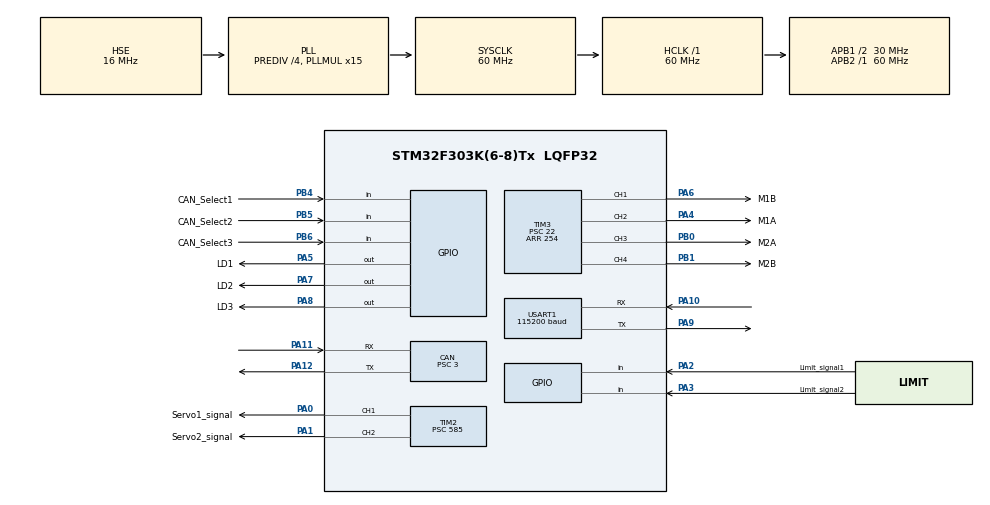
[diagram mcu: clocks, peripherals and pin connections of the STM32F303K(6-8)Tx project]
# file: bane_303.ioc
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CAN.BS1=CAN_BS1_7TQ
CAN.BS2=CAN_BS2_2TQ
CAN.CalculateBaudRate=1000000
CAN.CalculateTimeBit=1000
CAN.CalculateTimeQuantum=100.0
CAN.Prescaler=3
Mcu.Family=STM32F3
Mcu.Name=STM32F303K(6-8)Tx
Mcu.Package=LQFP32
NVIC.CAN_RX0_IRQn=true\:0\:0\:false\:false\:true\:true\:true\:true
NVIC.PVD_IRQn=true\:0\:0\:false\:false\:true\:true\:true\:true
NVIC.PriorityGroup=NVIC_PRIORITYGROUP_4
NVIC.USART1_IRQn=true\:0\:0\:false\:false\:true\:true\:true\:true
PA0.GPIO_Label=Servo1_signal
PA0.Signal=S_TIM2_CH1_ETR
PA1.GPIO_Label=Servo2_signal
PA1.Signal=S_TIM2_CH2
PA10.Mode=Asynchronous
PA10.Signal=USART1_RX
PA11.Mode=CAN_Activate
PA11.Signal=CAN_RX
PA12.Mode=CAN_Activate
PA12.Signal=CAN_TX
PA2.GPIO_Label=Limit_signal1
PA2.GPIO_PuPd=GPIO_PULLUP
PA2.Signal=GPIO_Input
PA3.GPIO_Label=Limit_signal2
PA3.GPIO_PuPd=GPIO_PULLUP
PA3.Signal=GPIO_Input
PA4.GPIO_Label=M1A
PA4.Signal=S_TIM3_CH2
PA5.GPIO_Label=LD1
PA5.Signal=GPIO_Output
PA6.GPIO_Label=M1B
PA6.Signal=S_TIM3_CH1
PA7.GPIO_Label=LD2
PA7.Signal=GPIO_Output
PA8.GPIO_Label=LD3
PA8.Signal=GPIO_Output
PA9.Mode=Asynchronous
PA9.Signal=USART1_TX
PB0.GPIO_Label=M2A
PB0.Signal=S_TIM3_CH3
PB1.GPIO_Label=M2B
PB1.Signal=S_TIM3_CH4
PB4.GPIO_Label=CAN_Select1
PB4.GPIO_PuPd=GPIO_PULLUP
PB4.Signal=GPIO_Input
PB5.GPIO_Label=CAN_Select2
PB5.GPIO_PuPd=GPIO_PULLUP
PB5.Signal=GPIO_Input
PB6.GPIO_Label=CAN_Select3
PB6.GPIO_PuPd=GPIO_PULLUP
PB6.Signal=GPIO_Input
PF0\ /\ OSC_IN.Mode=HSE-External-Oscillator
PF0\ /\ OSC_IN.Signal=RCC_OSC_IN
PF1\ /\ OSC_OUT.Mode=HSE-External-Oscillator
PF1\ /\ OSC_OUT.Signal=RCC_OSC_OUT
ProjectManager.HeapSize=0x200
ProjectManager.StackSize=0x400
ProjectManager.TargetToolchain=STM32CubeIDE
RCC.AHBFreq_Value=60000000
RCC.APB1CLKDivider=RCC_HCLK_DIV2
RCC.APB1Freq_Value=30000000
RCC.APB1TimFreq_Value=60000000
RCC.APB2Freq_Value=60000000
RCC.APB2TimFreq_Value=60000000
RCC.CortexFreq_Value=60000000
RCC.HCLKFreq_Value=60000000
RCC.HSE_VALUE=16000000
RCC.HSI_VALUE=8000000
RCC.PLLMUL=RCC_PLL_MUL15
RCC.PLLSourceVirtual=RCC_PLLSOURCE_HSE
RCC.RCC_PLLsource_Clock_Source_FROM_HSE=RCC_HSE_PREDIV_DIV4
RCC.SYSCLKFreq_VALUE=60000000
RCC.SYSCLKSourceVirtual=RCC_SYSCLKSOURCE_PLLCLK
SH.S_TIM2_CH1_ETR.0=TIM2_CH1,PWM Generation1 CH1
SH.S_TIM2_CH2.0=TIM2_CH2,PWM Generation2 CH2
SH.S_TIM3_CH1.0=TIM3_CH1,PWM Generation1 CH1
SH.S_TIM3_CH2.0=TIM3_CH2,PWM Generation2 CH2
SH.S_TIM3_CH3.0=TIM3_CH3,PWM Generation3 CH3
SH.S_TIM3_CH4.0=TIM3_CH4,PWM Generation4 CH4
TIM2.Channel-PWM\ Generation1\ CH1=TIM_CHANNEL_1
TIM2.Channel-PWM\ Generation2\ CH2=TIM_CHANNEL_2
TIM2.Period=2048
TIM2.Prescaler=585
TIM3.Channel-PWM\ Generation1\ CH1=TIM_CHANNEL_1
TIM3.Channel-PWM\ Generation2\ CH2=TIM_CHANNEL_2
TIM3.Channel-PWM\ Generation3\ CH3=TIM_CHANNEL_3
TIM3.Channel-PWM\ Generation4\ CH4=TIM_CHANNEL_4
TIM3.Period=254
TIM3.Prescaler=22
USART1.BaudRate=115200
USART1.VirtualMode-Asynchronous=VM_ASYNC
VP_TIM2_VS_ClockSourceINT.Mode=Internal
VP_TIM3_VS_ClockSourceINT.Mode=Internal
board=custom

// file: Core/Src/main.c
/* USER CODE BEGIN Header */
/**
  ******************************************************************************
  * @file           : main.c
  * @brief          : Main program body
  ******************************************************************************
  * @attention
  *
  * Copyright (c) 2024 STMicroelectronics.
  * All rights reserved.
  *
  * This software is licensed under terms that can be found in the LICENSE file
  * in the root directory of this software component.
  * If no LICENSE file comes with this software, it is provided AS-IS.
  *
  ******************************************************************************
  */
/* USER CODE END Header */
#include "main.h"

/* USER CODE BEGIN Includes */
#include <stdio.h>
#include <math.h>

//
//                       _oo0oo_
//                      o8888888o
//                      88" . "88
//                      (| -_- |)
//                      0\  =  /0
//                    ___/`---'\___
//                  .' \\|     |// '.
//                 / \\|||  :  |||// \
//                / _||||| -:- |||||- \
//               |   | \\\  -  /// |   |
//               | \_|  ''\---/''  |_/ |
//               \  .-\__  '-'  ___/-. /
//             ___'. .'  /--.--\  `. .'___
//          ."" '<  `.___\_<|>_/___.' >' "".
//         | | :  `- \`.;`\ _ /`;.`/ - ` : | |
//         \  \ `_.   \_ __\ /__ _/   .-` /  /
//     =====`-.____`.___ \_____/___.-`___.-'=====
//                       `=---='
//
//
//     ~~~~~~~~~~~~~~~~~~~~~~~~~~~~~~~~~~~~~~~~~~~
//
//               佛祖保佑         永无BUG
//
//
//

/* USER CODE END Includes */

CAN_HandleTypeDef hcan;

TIM_HandleTypeDef htim2;
TIM_HandleTypeDef htim3;

UART_HandleTypeDef huart1;

void SystemClock_Config(void);
static void MX_GPIO_Init(void);
static void MX_CAN_Init(void);
static void MX_TIM2_Init(void);
static void MX_TIM3_Init(void);
static void MX_USART1_UART_Init(void);

/* USER CODE BEGIN 0 */
uint8_t can_data_receive[8] = {0, 0, 0, 0, 20, 20, 0, 0};//{ M1出力(uint8_t), M1回転方向(bool), M2出力(uint8_t), M2回転方向(bool), Servo1角度(uint8_t 0~180), Servo2角度(uint8_t 0~180), LD1(bool), LD3(bool)}

uint32_t fId1 = 0x111 << 5; // フィルターID1
uint32_t fId2 = 0x222 << 5; // フィルターID2
uint32_t fId3 = 0x300 << 5; // フィルターID3
uint32_t variable_can_id;//フィルターID可変

//CAN用
CAN_TxHeaderTypeDef TxHeader;
CAN_RxHeaderTypeDef	RxHeader;
uint32_t TxMailbox;
uint32_t main_control_CAN_id = 0x100;	//メイン基板の受信ID
uint8_t	can_data_send_state[8] = {0};  //送るデータが入る配列
uint8_t RxData[8] = {0}; //受け取るデータが入る配列

//駆動系変数
int M1 = 0;
int M1_direction = 0;
int M2 = 0;
int M2_direction = 0;

int Servo1_variable = 0;
int Servo2_variable = 0;

//CAN割り込みの生死確認
int interrupt_cheack = 0;

//マップ関数
long map(long x, long in_min, long in_max, long out_min, long out_max) {
  return (x - in_min) * (out_max - out_min) / (in_max - in_min) + out_min;
}

//リミットスイッチの状態送信
void state_data_send(void){
	if(0 < HAL_CAN_GetTxMailboxesFreeLevel(&hcan)){
		can_data_send_state[0] = variable_can_id;
		can_data_send_state[1] = !HAL_GPIO_ReadPin(Limit_signal1_GPIO_Port, Limit_signal1_Pin);
		can_data_send_state[2] = !HAL_GPIO_ReadPin(Limit_signal2_GPIO_Port, Limit_signal2_Pin);

		TxHeader.StdId = main_control_CAN_id;
		TxHeader.RTR = CAN_RTR_DATA;
		TxHeader.IDE = CAN_ID_STD;
		TxHeader.DLC = 8;
		TxHeader.TransmitGlobalTime = DISABLE;

		if(HAL_CAN_AddTxMessage(&hcan, &TxHeader, can_data_send_state, &TxMailbox) != HAL_OK)
		{
		    Error_Handler();
		}
	}
}

//CAN割り込み受信
void HAL_CAN_RxFifo0MsgPendingCallback(CAN_HandleTypeDef *hcan)
{
    if (HAL_CAN_GetRxMessage(hcan, CAN_RX_FIFO0, &RxHeader, RxData) == HAL_OK)
    {
		for(int i = 0; i< 8; i++){
			can_data_receive[i] = RxData[i];
		}
		interrupt_cheack = 0;
    }
}
/* USER CODE END 0 */

int main(void)
{

  /* USER CODE BEGIN 1 */
  setbuf(stdout, NULL);
  /* USER CODE END 1 */

  /* MCU Configuration--------------------------------------------------------*/

  /* Reset of all peripherals, Initializes the Flash interface and the Systick. */
  HAL_Init();

  /* Configure the system clock */
  SystemClock_Config();

  /* Initialize all configured peripherals */
  MX_GPIO_Init();
  MX_CAN_Init();
  MX_TIM2_Init();
  MX_TIM3_Init();
  MX_USART1_UART_Init();
  /* USER CODE BEGIN 2 */

  //turn on
  printf("hello! @yosaha! \r\n");
  for(int i = 0; i <= 5; i++){
	  HAL_GPIO_WritePin(LD1_GPIO_Port, LD1_Pin, SET);
	  HAL_Delay(50);
	  HAL_GPIO_WritePin(LD1_GPIO_Port, LD1_Pin, RESET);
	  HAL_Delay(50);
  }
  HAL_GPIO_WritePin(LD1_GPIO_Port, LD1_Pin, SET);//起動確認用LED

  //CANID確認
  printf("CAN_Receive_Id...%d \r\n", (int)variable_can_id);

  //CANスタート
  HAL_CAN_Start(&hcan);
  HAL_CAN_ActivateNotification(&hcan, CAN_IT_RX_FIFO0_MSG_PENDING);

  //PWMスタート
  HAL_TIM_PWM_Start(&htim2, TIM_CHANNEL_1);
  HAL_TIM_PWM_Start(&htim2, TIM_CHANNEL_2);

  HAL_TIM_PWM_Start(&htim3, TIM_CHANNEL_1);
  HAL_TIM_PWM_Start(&htim3, TIM_CHANNEL_2);
  HAL_TIM_PWM_Start(&htim3, TIM_CHANNEL_3);
  HAL_TIM_PWM_Start(&htim3, TIM_CHANNEL_4);
  /* USER CODE END 2 */

  /* Infinite loop */
  while (1)
  {

    /* USER CODE BEGIN 3 */

	  //値確認
	  printf("limit1_%d  limit2_%d__", can_data_send_state[1], can_data_send_state[2]);
	  printf("CAN_ID...%u__%u___%u___%u___%u___%u___%u___%u___%u \r\n",variable_can_id,can_data_receive[0], can_data_receive[1], can_data_receive[2], can_data_receive[3], can_data_receive[4], can_data_receive[5], can_data_receive[6], can_data_receive[7]);	//CAN_reveive_Debug

	  //CANデータを処理
      M1 = map((int)can_data_receive[0], 0, 260, 0, 260);
      M1_direction = can_data_receive[1];
      M2 = map((int)can_data_receive[2], 0, 260, 0, 260);
      M2_direction = can_data_receive[3];
      Servo1_variable = map((int)can_data_receive[4], 0, 180, 48, 261);
      Servo2_variable = map((int)can_data_receive[5], 0, 180, 48, 261);

	  //モーター1駆動
	  if(M1_direction == 0){
		  __HAL_TIM_SET_COMPARE(&htim3, TIM_CHANNEL_2, M1);
		  __HAL_TIM_SET_COMPARE(&htim3, TIM_CHANNEL_1, 0);
	  }
	  else if(M1_direction == 1){
		  __HAL_TIM_SET_COMPARE(&htim3, TIM_CHANNEL_2, 0);
		  __HAL_TIM_SET_COMPARE(&htim3, TIM_CHANNEL_1, M1);
	  }

	  //モーター2駆動
	  if(M2_direction == 0){
		  __HAL_TIM_SET_COMPARE(&htim3, TIM_CHANNEL_3, M2);
		  __HAL_TIM_SET_COMPARE(&htim3, TIM_CHANNEL_4, 0);
	  }
	  else if(M2_direction == 1){
		  __HAL_TIM_SET_COMPARE(&htim3, TIM_CHANNEL_3, 0);
		  __HAL_TIM_SET_COMPARE(&htim3, TIM_CHANNEL_4, M2);
	  }

	  //サーボ1駆動
	  __HAL_TIM_SET_COMPARE(&htim2, TIM_CHANNEL_1, (int)Servo1_variable);

	  //サーボ2駆動
	  __HAL_TIM_SET_COMPARE(&htim2, TIM_CHANNEL_2, (int)Servo2_variable);

	  //リミットスイッチの状態送信
	  state_data_send();

	  //CAN割り込み生死確認
	  if(interrupt_cheack > 50){
		  HAL_GPIO_WritePin(LD3_GPIO_Port, LD3_Pin, RESET);
	  }
	  else{
		  HAL_GPIO_WritePin(LD3_GPIO_Port, LD3_Pin, SET);
	  }

	  interrupt_cheack++;

//	  printf("M1...%d...", M1);
//	  printf("direction1...%d...", M1_direction);
//	  printf("M2...%d...", M2);
//	  printf("direction1...%d...\r\n", M2_direction);
//    printf("%d\r\n", Servo1_variable);
//    printf("%d\r\n", Servo2_variable);
  }
  /* USER CODE END 3 */
}

void SystemClock_Config(void)
{
  RCC_OscInitTypeDef RCC_OscInitStruct = {0};
  RCC_ClkInitTypeDef RCC_ClkInitStruct = {0};
  RCC_PeriphCLKInitTypeDef PeriphClkInit = {0};

  /** Initializes the RCC Oscillators according to the specified parameters
  * in the RCC_OscInitTypeDef structure.
  */
  RCC_OscInitStruct.OscillatorType = RCC_OSCILLATORTYPE_HSE;
  RCC_OscInitStruct.HSEState = RCC_HSE_ON;
  RCC_OscInitStruct.HSEPredivValue = RCC_HSE_PREDIV_DIV4;
  RCC_OscInitStruct.HSIState = RCC_HSI_ON;
  RCC_OscInitStruct.PLL.PLLState = RCC_PLL_ON;
  RCC_OscInitStruct.PLL.PLLSource = RCC_PLLSOURCE_HSE;
  RCC_OscInitStruct.PLL.PLLMUL = RCC_PLL_MUL15;
  if (HAL_RCC_OscConfig(&RCC_OscInitStruct) != HAL_OK)
  {
    Error_Handler();
  }

  /** Initializes the CPU, AHB and APB buses clocks
  */
  RCC_ClkInitStruct.ClockType = RCC_CLOCKTYPE_HCLK|RCC_CLOCKTYPE_SYSCLK
                              |RCC_CLOCKTYPE_PCLK1|RCC_CLOCKTYPE_PCLK2;
  RCC_ClkInitStruct.SYSCLKSource = RCC_SYSCLKSOURCE_PLLCLK;
  RCC_ClkInitStruct.AHBCLKDivider = RCC_SYSCLK_DIV1;
  RCC_ClkInitStruct.APB1CLKDivider = RCC_HCLK_DIV2;
  RCC_ClkInitStruct.APB2CLKDivider = RCC_HCLK_DIV1;

  if (HAL_RCC_ClockConfig(&RCC_ClkInitStruct, FLASH_LATENCY_2) != HAL_OK)
  {
    Error_Handler();
  }
  PeriphClkInit.PeriphClockSelection = RCC_PERIPHCLK_USART1;
  PeriphClkInit.Usart1ClockSelection = RCC_USART1CLKSOURCE_PCLK1;
  if (HAL_RCCEx_PeriphCLKConfig(&PeriphClkInit) != HAL_OK)
  {
    Error_Handler();
  }
}

static void MX_CAN_Init(void)
{

  /* USER CODE BEGIN CAN_Init 0 */
  variable_can_id = !HAL_GPIO_ReadPin(CAN_Select1_GPIO_Port, CAN_Select1_Pin) * 4 + !HAL_GPIO_ReadPin(CAN_Select2_GPIO_Port, CAN_Select2_Pin) * 2 + !HAL_GPIO_ReadPin(CAN_Select3_GPIO_Port, CAN_Select3_Pin) * 1;
  /* USER CODE END CAN_Init 0 */

  hcan.Instance = CAN;
  hcan.Init.Prescaler = 3;
  hcan.Init.Mode = CAN_MODE_NORMAL;
  hcan.Init.SyncJumpWidth = CAN_SJW_1TQ;
  hcan.Init.TimeSeg1 = CAN_BS1_7TQ;
  hcan.Init.TimeSeg2 = CAN_BS2_2TQ;
  hcan.Init.TimeTriggeredMode = DISABLE;
  hcan.Init.AutoBusOff = DISABLE;
  hcan.Init.AutoWakeUp = DISABLE;
  hcan.Init.AutoRetransmission = DISABLE;
  hcan.Init.ReceiveFifoLocked = DISABLE;
  hcan.Init.TransmitFifoPriority = DISABLE;
  if (HAL_CAN_Init(&hcan) != HAL_OK)
  {
    Error_Handler();
  }
  /* USER CODE BEGIN CAN_Init 2 */

  CAN_FilterTypeDef filter;
  filter.FilterIdHigh        	 	= fId1;                  // フィルターID1
  filter.FilterIdLow          		= fId2;                  // フィルターID2
  filter.FilterMaskIdHigh     	= fId3;                  // フィルターID3
  filter.FilterMaskIdLow      	= (uint32_t)variable_can_id << 5;    // フィルターID4
  filter.FilterScale          = CAN_FILTERSCALE_16BIT; // 16モード
  filter.FilterFIFOAssignment = CAN_FILTER_FIFO0;      // FIFO0へ格納
  filter.FilterBank           = 0;
  filter.FilterMode           = CAN_FILTERMODE_IDLIST; // IDリストモード
  filter.SlaveStartFilterBank = 14;
  filter.FilterActivation     = ENABLE;

  HAL_CAN_ConfigFilter(&hcan, &filter);
  /* USER CODE END CAN_Init 2 */

}

static void MX_TIM2_Init(void)
{

  TIM_ClockConfigTypeDef sClockSourceConfig = {0};
  TIM_MasterConfigTypeDef sMasterConfig = {0};
  TIM_OC_InitTypeDef sConfigOC = {0};

  htim2.Instance = TIM2;
  htim2.Init.Prescaler = 585;
  htim2.Init.CounterMode = TIM_COUNTERMODE_UP;
  htim2.Init.Period = 2048;
  htim2.Init.ClockDivision = TIM_CLOCKDIVISION_DIV1;
  htim2.Init.AutoReloadPreload = TIM_AUTORELOAD_PRELOAD_DISABLE;
  if (HAL_TIM_Base_Init(&htim2) != HAL_OK)
  {
    Error_Handler();
  }
  sClockSourceConfig.ClockSource = TIM_CLOCKSOURCE_INTERNAL;
  if (HAL_TIM_ConfigClockSource(&htim2, &sClockSourceConfig) != HAL_OK)
  {
    Error_Handler();
  }
  if (HAL_TIM_PWM_Init(&htim2) != HAL_OK)
  {
    Error_Handler();
  }
  sMasterConfig.MasterOutputTrigger = TIM_TRGO_RESET;
  sMasterConfig.MasterSlaveMode = TIM_MASTERSLAVEMODE_DISABLE;
  if (HAL_TIMEx_MasterConfigSynchronization(&htim2, &sMasterConfig) != HAL_OK)
  {
    Error_Handler();
  }
  sConfigOC.OCMode = TIM_OCMODE_PWM1;
  sConfigOC.Pulse = 0;
  sConfigOC.OCPolarity = TIM_OCPOLARITY_HIGH;
  sConfigOC.OCFastMode = TIM_OCFAST_DISABLE;
  if (HAL_TIM_PWM_ConfigChannel(&htim2, &sConfigOC, TIM_CHANNEL_1) != HAL_OK)
  {
    Error_Handler();
  }
  if (HAL_TIM_PWM_ConfigChannel(&htim2, &sConfigOC, TIM_CHANNEL_2) != HAL_OK)
  {
    Error_Handler();
  }
  HAL_TIM_MspPostInit(&htim2);

}

static void MX_TIM3_Init(void)
{

  TIM_ClockConfigTypeDef sClockSourceConfig = {0};
  TIM_MasterConfigTypeDef sMasterConfig = {0};
  TIM_OC_InitTypeDef sConfigOC = {0};

  htim3.Instance = TIM3;
  htim3.Init.Prescaler = 22;
  htim3.Init.CounterMode = TIM_COUNTERMODE_UP;
  htim3.Init.Period = 254;
  htim3.Init.ClockDivision = TIM_CLOCKDIVISION_DIV1;
  htim3.Init.AutoReloadPreload = TIM_AUTORELOAD_PRELOAD_DISABLE;
  if (HAL_TIM_Base_Init(&htim3) != HAL_OK)
  {
    Error_Handler();
  }
  sClockSourceConfig.ClockSource = TIM_CLOCKSOURCE_INTERNAL;
  if (HAL_TIM_ConfigClockSource(&htim3, &sClockSourceConfig) != HAL_OK)
  {
    Error_Handler();
  }
  if (HAL_TIM_PWM_Init(&htim3) != HAL_OK)
  {
    Error_Handler();
  }
  sMasterConfig.MasterOutputTrigger = TIM_TRGO_RESET;
  sMasterConfig.MasterSlaveMode = TIM_MASTERSLAVEMODE_DISABLE;
  if (HAL_TIMEx_MasterConfigSynchronization(&htim3, &sMasterConfig) != HAL_OK)
  {
    Error_Handler();
  }
  sConfigOC.OCMode = TIM_OCMODE_PWM1;
  sConfigOC.Pulse = 0;
  sConfigOC.OCPolarity = TIM_OCPOLARITY_HIGH;
  sConfigOC.OCFastMode = TIM_OCFAST_DISABLE;
  if (HAL_TIM_PWM_ConfigChannel(&htim3, &sConfigOC, TIM_CHANNEL_1) != HAL_OK)
  {
    Error_Handler();
  }
  if (HAL_TIM_PWM_ConfigChannel(&htim3, &sConfigOC, TIM_CHANNEL_2) != HAL_OK)
  {
    Error_Handler();
  }
  if (HAL_TIM_PWM_ConfigChannel(&htim3, &sConfigOC, TIM_CHANNEL_3) != HAL_OK)
  {
    Error_Handler();
  }
  if (HAL_TIM_PWM_ConfigChannel(&htim3, &sConfigOC, TIM_CHANNEL_4) != HAL_OK)
  {
    Error_Handler();
  }
  HAL_TIM_MspPostInit(&htim3);

}

static void MX_USART1_UART_Init(void)
{

  huart1.Instance = USART1;
  huart1.Init.BaudRate = 115200;
  huart1.Init.WordLength = UART_WORDLENGTH_8B;
  huart1.Init.StopBits = UART_STOPBITS_1;
  huart1.Init.Parity = UART_PARITY_NONE;
  huart1.Init.Mode = UART_MODE_TX_RX;
  huart1.Init.HwFlowCtl = UART_HWCONTROL_NONE;
  huart1.Init.OverSampling = UART_OVERSAMPLING_16;
  huart1.Init.OneBitSampling = UART_ONE_BIT_SAMPLE_DISABLE;
  huart1.AdvancedInit.AdvFeatureInit = UART_ADVFEATURE_NO_INIT;
  if (HAL_UART_Init(&huart1) != HAL_OK)
  {
    Error_Handler();
  }

}

static void MX_GPIO_Init(void)
{
  GPIO_InitTypeDef GPIO_InitStruct = {0};

  /* GPIO Ports Clock Enable */
  __HAL_RCC_GPIOF_CLK_ENABLE();
  __HAL_RCC_GPIOA_CLK_ENABLE();
  __HAL_RCC_GPIOB_CLK_ENABLE();

  /*Configure GPIO pin Output Level */
  HAL_GPIO_WritePin(GPIOA, LD1_Pin|LD2_Pin|LD3_Pin, GPIO_PIN_RESET);

  /*Configure GPIO pins : Limit_signal1_Pin Limit_signal2_Pin */
  GPIO_InitStruct.Pin = Limit_signal1_Pin|Limit_signal2_Pin;
  GPIO_InitStruct.Mode = GPIO_MODE_INPUT;
  GPIO_InitStruct.Pull = GPIO_PULLUP;
  HAL_GPIO_Init(GPIOA, &GPIO_InitStruct);

  /*Configure GPIO pins : LD1_Pin LD2_Pin LD3_Pin */
  GPIO_InitStruct.Pin = LD1_Pin|LD2_Pin|LD3_Pin;
  GPIO_InitStruct.Mode = GPIO_MODE_OUTPUT_PP;
  GPIO_InitStruct.Pull = GPIO_NOPULL;
  GPIO_InitStruct.Speed = GPIO_SPEED_FREQ_LOW;
  HAL_GPIO_Init(GPIOA, &GPIO_InitStruct);

  /*Configure GPIO pins : CAN_Select1_Pin CAN_Select2_Pin CAN_Select3_Pin */
  GPIO_InitStruct.Pin = CAN_Select1_Pin|CAN_Select2_Pin|CAN_Select3_Pin;
  GPIO_InitStruct.Mode = GPIO_MODE_INPUT;
  GPIO_InitStruct.Pull = GPIO_PULLUP;
  HAL_GPIO_Init(GPIOB, &GPIO_InitStruct);

}

/* USER CODE BEGIN 4 */

int _write(int file, char *ptr, int len)
{
  HAL_UART_Transmit(&huart1,(uint8_t *)ptr,len,10);
  return len;
}

/* USER CODE END 4 */

void Error_Handler(void)
{
  /* USER CODE BEGIN Error_Handler_Debug */
  /* User can add his own implementation to report the HAL error return state */
  __disable_irq();
  while (1)
  {
	  printf("error! \r\n");
  }
  /* USER CODE END Error_Handler_Debug */
}
